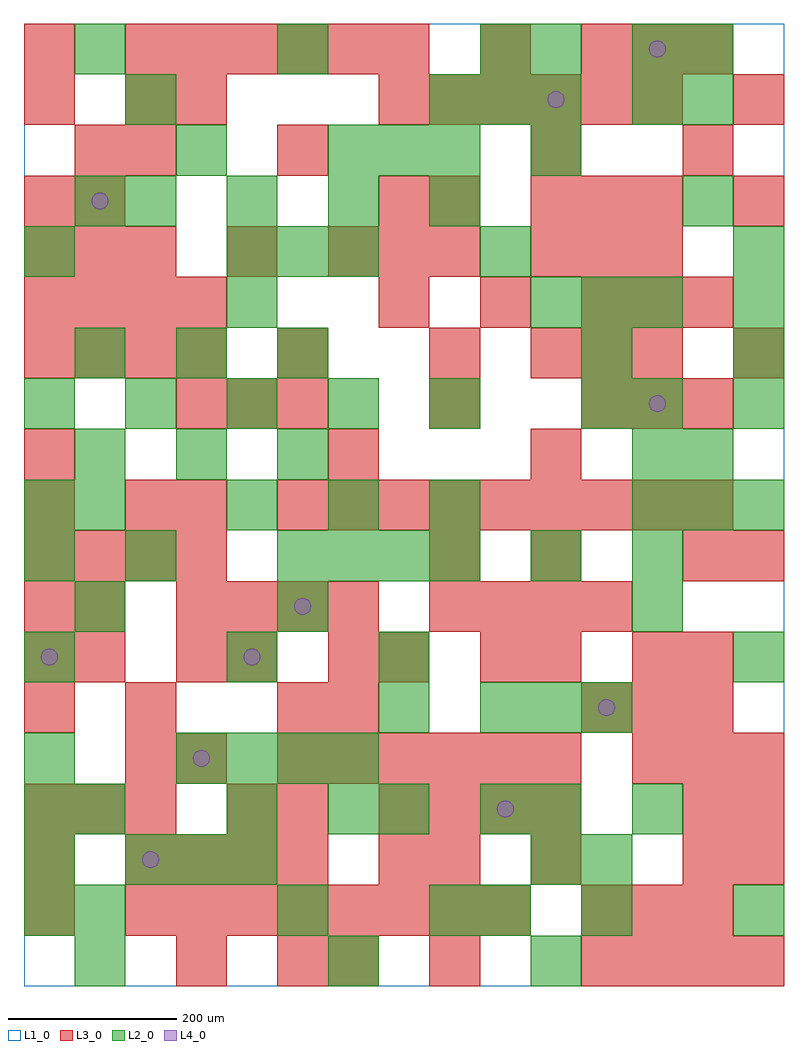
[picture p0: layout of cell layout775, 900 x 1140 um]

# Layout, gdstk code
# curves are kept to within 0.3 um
import gdstk
lib = gdstk.Library(unit=1e-6, precision=1e-09)
def R(c, l, rs):  # rectangles x0, y0, x1, y1
    for r in rs: c.add(gdstk.rectangle(r[:2], r[2:], *l))
def A(c, l, x, y, w, h, nx, ny, dx, dy):  # array of equal rectangles
    R(c, l, [(x+i*dx, y+j*dy, x+i*dx+w, y+j*dy+h) for i in range(nx) for j in range(ny)])
def P(c, l, *ps):  # polygons
    for p in ps: c.add(gdstk.Polygon(p, *l))
L1_0 = (1, 0)
L2_0 = (2, 0)
L3_0 = (3, 0)
L4_0 = (4, 0)

layout775 = lib.new_cell('layout775')
R(layout775, L1_0, [(0,0,900,1140)])
A(layout775, L2_0, 0, 60, 60, 60, 1, 4, 0, 60)
A(layout775, L2_0, 840, 60, 60, 60, 1, 3, 0, 300)
A(layout775, L2_0, 120, 120, 60, 60, 3, 1, 60, 0)
A(layout775, L2_0, 180, 240, 60, 60, 4, 1, 60, 0)
A(layout775, L2_0, 540, 300, 60, 60, 3, 1, 60, 0)
A(layout775, L2_0, 300, 480, 60, 60, 4, 1, 60, 0)
A(layout775, L2_0, 240, 540, 60, 60, 3, 1, 120, 0)
A(layout775, L2_0, 720, 540, 60, 60, 3, 1, 60, 0)
A(layout775, L2_0, 60, 600, 60, 60, 3, 2, 120, 120)
A(layout775, L2_0, 0, 660, 60, 60, 5, 1, 120, 0)
A(layout775, L2_0, 840, 720, 60, 60, 1, 3, 0, 60)
A(layout775, L2_0, 600, 780, 60, 60, 3, 1, 60, 0)
A(layout775, L2_0, 240, 840, 60, 60, 3, 1, 60, 0)
A(layout775, L2_0, 120, 900, 60, 60, 4, 1, 120, 0)
A(layout775, L2_0, 360, 960, 60, 60, 3, 1, 60, 0)
A(layout775, L2_0, 480, 1020, 60, 60, 3, 1, 60, 0)
A(layout775, L2_0, 60, 1080, 60, 60, 3, 1, 240, 0)
R(layout775, L2_0, [(60,0,120,60), (360,0,420,60), (600,0,660,60), (60,60,120,120), (300,60,360,120), (480,60,540,120), (540,60,600,120), (660,60,720,120), (600,120,660,180), (660,120,720,180), (60,180,120,240), (240,180,300,240), (360,180,420,240), (420,180,480,240), (540,180,600,240), (600,180,660,240), (720,180,780,240), (420,300,480,360), (0,360,60,420), (240,360,300,420), (420,360,480,420), (60,420,120,480), (300,420,360,480), (720,420,780,480), (0,480,60,540), (120,480,180,540), (600,480,660,540), (720,480,780,540), (0,540,60,600), (60,540,120,600), (720,600,780,660), (780,600,840,660), (660,660,720,720), (720,660,780,720), (660,720,720,780), (240,780,300,840), (0,840,60,900), (540,840,600,900), (60,900,120,960), (780,900,840,960), (180,960,240,1020), (600,960,660,1020), (120,1020,180,1080), (720,1020,780,1080), (780,1020,840,1080), (600,1080,660,1140), (720,1080,780,1140), (780,1080,840,1140)])
A(layout775, L3_0, 660, 0, 60, 60, 4, 1, 60, 0)
A(layout775, L3_0, 120, 60, 60, 60, 8, 1, 60, 0)
A(layout775, L3_0, 660, 60, 60, 60, 3, 2, 60, 240)
A(layout775, L3_0, 120, 120, 60, 60, 4, 1, 60, 0)
A(layout775, L3_0, 0, 180, 60, 60, 3, 2, 60, 660)
A(layout775, L3_0, 420, 180, 60, 60, 4, 1, 60, 0)
A(layout775, L3_0, 300, 240, 60, 60, 6, 1, 60, 0)
A(layout775, L3_0, 720, 240, 60, 60, 3, 1, 60, 0)
A(layout775, L3_0, 0, 300, 60, 60, 1, 3, 0, 60)
A(layout775, L3_0, 600, 360, 60, 60, 1, 3, 0, 120)
A(layout775, L3_0, 180, 420, 60, 60, 4, 1, 60, 0)
A(layout775, L3_0, 480, 420, 60, 60, 4, 1, 60, 0)
A(layout775, L3_0, 0, 480, 60, 60, 4, 2, 60, 240)
A(layout775, L3_0, 300, 540, 60, 60, 9, 1, 60, 0)
A(layout775, L3_0, 180, 660, 60, 60, 3, 1, 60, 0)
A(layout775, L3_0, 660, 660, 60, 60, 3, 2, 60, 420)
A(layout775, L3_0, 600, 720, 60, 60, 3, 2, 60, 120)
A(layout775, L3_0, 0, 780, 60, 60, 4, 1, 60, 0)
A(layout775, L3_0, 420, 780, 60, 60, 3, 1, 120, 0)
A(layout775, L3_0, 360, 840, 60, 60, 3, 1, 60, 0)
A(layout775, L3_0, 600, 900, 60, 60, 3, 1, 60, 0)
A(layout775, L3_0, 420, 1020, 60, 60, 6, 1, 60, 0)
A(layout775, L3_0, 120, 1080, 60, 60, 6, 1, 60, 0)
R(layout775, L3_0, [(180,0,240,60), (300,0,360,60), (360,0,420,60), (480,0,540,60), (0,60,60,120), (0,120,60,180), (420,120,480,180), (480,120,540,180), (600,120,660,180), (780,120,840,180), (840,120,900,180), (240,180,300,240), (300,180,360,240), (780,180,840,240), (840,180,900,240), (120,240,180,300), (180,240,240,300), (120,300,180,360), (300,300,360,360), (360,300,420,360), (60,360,120,420), (180,360,240,420), (240,360,300,420), (360,360,420,420), (420,360,480,420), (540,360,600,420), (720,360,780,420), (780,360,840,420), (60,420,120,480), (480,480,540,540), (780,480,840,540), (840,480,900,540), (0,540,60,600), (120,540,180,600), (180,540,240,600), (0,600,60,660), (360,600,420,660), (480,660,540,720), (300,720,360,780), (480,720,540,780), (840,720,900,780), (720,780,780,840), (780,780,840,840), (240,840,300,900), (0,900,60,960), (60,900,120,960), (420,900,480,960), (480,900,540,960), (840,900,900,960), (60,960,120,1020), (120,960,180,1020), (300,960,360,1020), (600,960,660,1020), (780,960,840,1020), (0,1020,60,1080), (120,1020,180,1080), (180,1020,240,1080), (840,1020,900,1080), (0,1080,60,1140), (540,1080,600,1140)])
P(layout775, L4_0, [(40,390),(39.239,393.827),(37.071,397.071),(33.827,399.239),(30,400),(26.173,399.239),(22.929,397.071),(20.761,393.827),(20,390),(20.761,386.173),(22.929,382.929),(26.173,380.761),(30,380),(33.827,380.761),(37.071,382.929),(39.239,386.173)],
  [(100,930),(99.239,933.827),(97.071,937.071),(93.827,939.239),(90,940),(86.173,939.239),(82.929,937.071),(80.761,933.827),(80,930),(80.761,926.173),(82.929,922.929),(86.173,920.761),(90,920),(93.827,920.761),(97.071,922.929),(99.239,926.173)],
  [(160,150),(159.239,153.827),(157.071,157.071),(153.827,159.239),(150,160),(146.173,159.239),(142.929,157.071),(140.761,153.827),(140,150),(140.761,146.173),(142.929,142.929),(146.173,140.761),(150,140),(153.827,140.761),(157.071,142.929),(159.239,146.173)],
  [(220,270),(219.239,273.827),(217.071,277.071),(213.827,279.239),(210,280),(206.173,279.239),(202.929,277.071),(200.761,273.827),(200,270),(200.761,266.173),(202.929,262.929),(206.173,260.761),(210,260),(213.827,260.761),(217.071,262.929),(219.239,266.173)],
  [(280,390),(279.239,393.827),(277.071,397.071),(273.827,399.239),(270,400),(266.173,399.239),(262.929,397.071),(260.761,393.827),(260,390),(260.761,386.173),(262.929,382.929),(266.173,380.761),(270,380),(273.827,380.761),(277.071,382.929),(279.239,386.173)],
  [(340,450),(339.239,453.827),(337.071,457.071),(333.827,459.239),(330,460),(326.173,459.239),(322.929,457.071),(320.761,453.827),(320,450),(320.761,446.173),(322.929,442.929),(326.173,440.761),(330,440),(333.827,440.761),(337.071,442.929),(339.239,446.173)],
  [(580,210),(579.239,213.827),(577.071,217.071),(573.827,219.239),(570,220),(566.173,219.239),(562.929,217.071),(560.761,213.827),(560,210),(560.761,206.173),(562.929,202.929),(566.173,200.761),(570,200),(573.827,200.761),(577.071,202.929),(579.239,206.173)],
  [(640,1050),(639.239,1053.827),(637.071,1057.071),(633.827,1059.239),(630,1060),(626.173,1059.239),(622.929,1057.071),(620.761,1053.827),(620,1050),(620.761,1046.173),(622.929,1042.929),(626.173,1040.761),(630,1040),(633.827,1040.761),(637.071,1042.929),(639.239,1046.173)],
  [(700,330),(699.239,333.827),(697.071,337.071),(693.827,339.239),(690,340),(686.173,339.239),(682.929,337.071),(680.761,333.827),(680,330),(680.761,326.173),(682.929,322.929),(686.173,320.761),(690,320),(693.827,320.761),(697.071,322.929),(699.239,326.173)],
  [(760,690),(759.239,693.827),(757.071,697.071),(753.827,699.239),(750,700),(746.173,699.239),(742.929,697.071),(740.761,693.827),(740,690),(740.761,686.173),(742.929,682.929),(746.173,680.761),(750,680),(753.827,680.761),(757.071,682.929),(759.239,686.173)],
  [(760,1110),(759.239,1113.827),(757.071,1117.071),(753.827,1119.239),(750,1120),(746.173,1119.239),(742.929,1117.071),(740.761,1113.827),(740,1110),(740.761,1106.173),(742.929,1102.929),(746.173,1100.761),(750,1100),(753.827,1100.761),(757.071,1102.929),(759.239,1106.173)])

lib.write_gds('layout775.gds')
